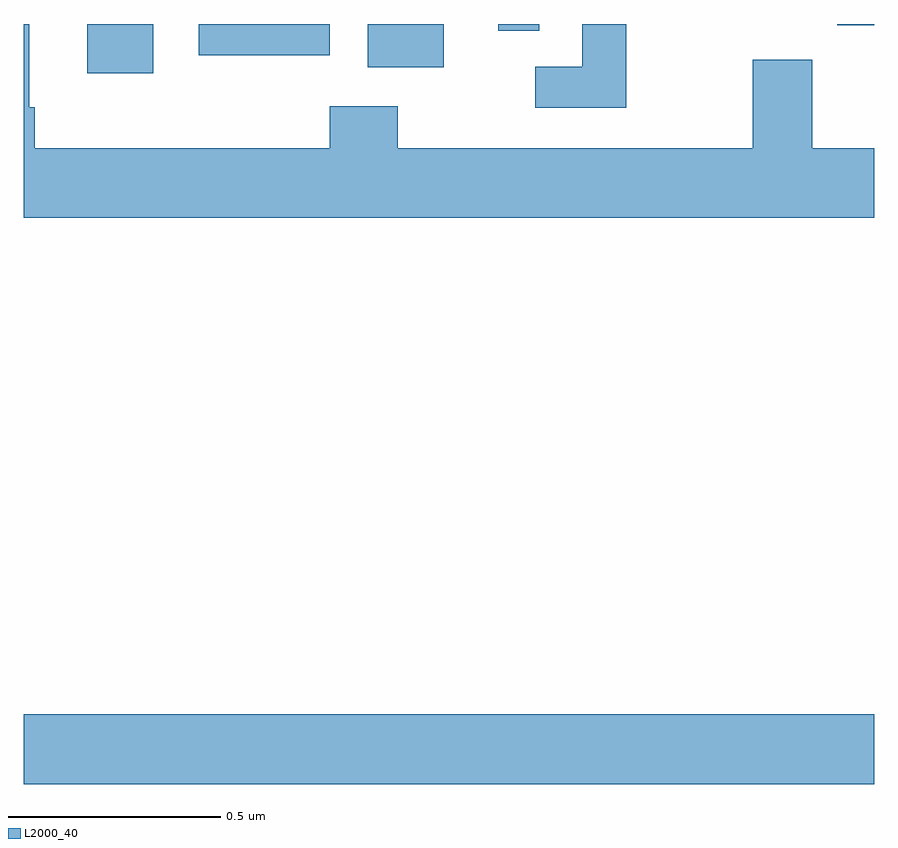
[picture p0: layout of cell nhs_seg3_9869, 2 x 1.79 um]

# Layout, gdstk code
import gdstk
lib = gdstk.Library(unit=1e-6, precision=1e-09)
def R(c, l, rs):  # rectangles x0, y0, x1, y1
    for r in rs: c.add(gdstk.rectangle(r[:2], r[2:], *l))
def P(c, l, *ps):  # polygons
    for p in ps: c.add(gdstk.Polygon(p, *l))
L2000_40 = (2000, 40)

nhs_seg3_9869 = lib.new_cell('nhs_seg3_9869')
R(nhs_seg3_9869, L2000_40, [(234,671.612,236,671.776), (234.149,673.284,234.304,673.4), (234.809,673.298,234.988,673.4), (234.411,673.327,234.72,673.4), (235.116,673.384,235.212,673.4), (235.913,673.397,236,673.4)])
P(nhs_seg3_9869, L2000_40, [(236,673.108),(235.855,673.108),(235.855,673.316),(235.715,673.316),(235.715,673.108),(234.879,673.108),(234.879,673.207),(234.719,673.207),(234.719,673.108),(234.026,673.108),(234.026,673.204),(234.013,673.204),(234.013,673.4),(234,673.4),(234,672.944),(236,672.944)],
  [(235.417,673.4),(235.313,673.4),(235.313,673.299),(235.203,673.299),(235.203,673.203),(235.417,673.203)])

lib.write_gds('nhs_seg3_9869.gds')
